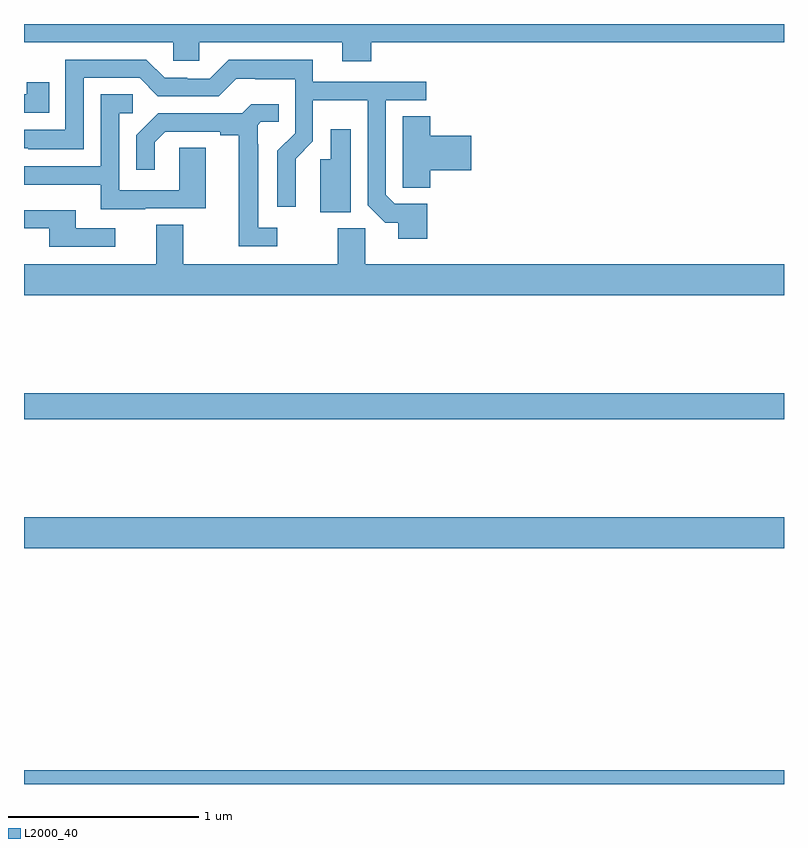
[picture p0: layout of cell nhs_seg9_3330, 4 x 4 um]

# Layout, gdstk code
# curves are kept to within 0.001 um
import gdstk
lib = gdstk.Library(unit=1e-6, precision=1e-09)
def R(c, l, rs):  # rectangles x0, y0, x1, y1
    for r in rs: c.add(gdstk.rectangle(r[:2], r[2:], *l))
def P(c, l, *ps):  # polygons
    for p in ps: c.add(gdstk.Polygon(p, *l))
L2000_40 = (2000, 40)

nhs_seg9_3330 = lib.new_cell('nhs_seg9_3330')
R(nhs_seg9_3330, L2000_40, [(301,1208.5,305,1208.572), (301,1209.74,305,1209.904), (301,1210.42,305,1210.556)])
P(nhs_seg9_3330, L2000_40, [(302.828,1212.404),(305,1212.404),(305,1212.5),(301,1212.5),(301,1212.404),(301.785,1212.404),(301.785,1212.306),(301.923,1212.306),(301.923,1212.404),(302.675,1212.404),(302.675,1212.305),(302.828,1212.305)],
  [(303.122,1211.553),(302.952,1211.553),(302.904,1211.601),(302.904,1212.099),(303.118,1212.099),(303.118,1212.195),(302.521,1212.195),(302.521,1212.313),(302.077,1212.313),(301.977,1212.213),(301.86,1212.213),(301.86,1212.216),(301.74,1212.216),(301.644,1212.312),(301.218,1212.312),(301.218,1211.943),(301,1211.943),(301,1211.847),(301.023,1211.847),(301.023,1211.84),(301.314,1211.84),(301.314,1212.216),(301.608,1212.216),(301.704,1212.12),(302.025,1212.12),(302.118,1212.213),(302.218,1212.213),(302.218,1212.209),(302.427,1212.209),(302.427,1211.925),(302.334,1211.832),(302.334,1211.538),(302.43,1211.538),(302.429,1211.79),(302.52,1211.882),(302.52,1212.098),(302.808,1212.098),(302.808,1211.547),(302.901,1211.455),(302.969,1211.455),(302.969,1211.37),(303.122,1211.37)],
  [(301.133,1212.193),(301.015,1212.193),(301.015,1212.129),(301,1212.129),(301,1212.033),(301.133,1212.033)],
  [(301.639,1211.529),(301.957,1211.529),(301.957,1211.849),(301.818,1211.849),(301.818,1211.625),(301.5,1211.625),(301.5,1212.03),(301.573,1212.03),(301.573,1212.131),(301.404,1212.131),(301.404,1211.751),(301,1211.751),(301,1211.654),(301.403,1211.654),(301.403,1211.525),(301.639,1211.525)],
  [(302.332,1211.427),(302.233,1211.427),(302.233,1211.867),(302.229,1211.867),(302.229,1211.967),(302.247,1211.985),(302.342,1211.985),(302.342,1212.077),(302.196,1212.077),(302.148,1212.03),(301.706,1212.03),(301.59,1211.914),(301.59,1211.733),(301.687,1211.733),(301.687,1211.877),(301.744,1211.934),(302.033,1211.934),(302.033,1211.914),(302.129,1211.914),(302.129,1211.331),(302.332,1211.331)],
  [(303.137,1211.729),(303.355,1211.729),(303.355,1211.912),(303.137,1211.912),(303.137,1212.014),(302.993,1212.014),(302.993,1211.746),(302.994,1211.746),(302.994,1211.638),(303.137,1211.638)],
  [(302.719,1211.947),(302.615,1211.947),(302.615,1211.787),(302.558,1211.787),(302.558,1211.509),(302.719,1211.509)],
  [(301.48,1211.424),(301.273,1211.424),(301.273,1211.521),(301,1211.521),(301,1211.424),(301.133,1211.424),(301.133,1211.328),(301.48,1211.328)],
  [(305,1211.236),(302.796,1211.236),(302.796,1211.424),(302.65,1211.424),(302.65,1211.236),(301.837,1211.236),(301.837,1211.444),(301.697,1211.444),(301.697,1211.236),(301,1211.236),(301,1211.072),(305,1211.072)])

lib.write_gds('nhs_seg9_3330.gds')
